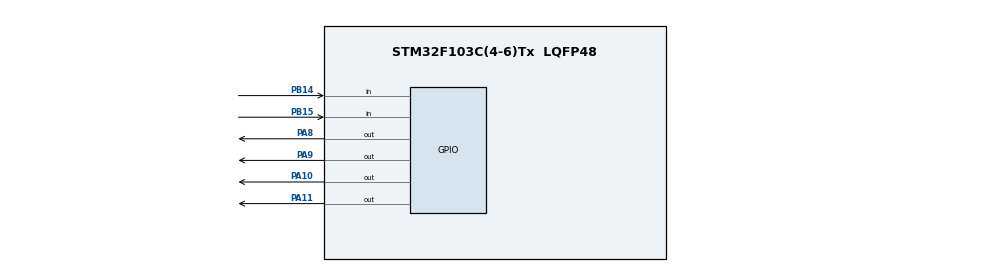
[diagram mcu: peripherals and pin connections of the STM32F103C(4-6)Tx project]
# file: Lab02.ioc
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Mcu.Family=STM32F1
Mcu.Name=STM32F103C(4-6)Tx
Mcu.Package=LQFP48
NVIC.PriorityGroup=NVIC_PRIORITYGROUP_4
PA10.Signal=GPIO_Output
PA11.Signal=GPIO_Output
PA8.Signal=GPIO_Output
PA9.Signal=GPIO_Output
PB14.Signal=GPIO_Input
PB15.Signal=GPIO_Input
ProjectManager.HeapSize=0x200
ProjectManager.StackSize=0x400
ProjectManager.TargetToolchain=STM32CubeIDE
RCC.APB1Freq_Value=8000000
RCC.APB2Freq_Value=8000000
VP_SYS_VS_ND.Mode=No_Debug
board=custom

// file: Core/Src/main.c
/* USER CODE BEGIN Header */
/**
  ******************************************************************************
  * @file           : main.c
  * @brief          : Main program body
  ******************************************************************************
  * @attention
  *
  * Copyright (c) 2022 STMicroelectronics.
  * All rights reserved.
  *
  * This software is licensed under terms that can be found in the LICENSE file
  * in the root directory of this software component.
  * If no LICENSE file comes with this software, it is provided AS-IS.
  *
  ******************************************************************************
  */
/* USER CODE END Header */
#include "main.h"
#include "gpio.h"

void SystemClock_Config(void);

int main(void)
{
  /* USER CODE BEGIN 1 */
	int count = 0;
	int countbb = 0;
	int flag = 0;
	int flab = 0;
  /* USER CODE END 1 */

  /* MCU Configuration--------------------------------------------------------*/

  /* Reset of all peripherals, Initializes the Flash interface and the Systick. */
  HAL_Init();

  /* Configure the system clock */
  SystemClock_Config();

  /* Initialize all configured peripherals */
  MX_GPIO_Init();

  /* Infinite loop */
  /* USER CODE BEGIN WHILE */
  while (1)
  {
	  if (HAL_GPIO_ReadPin(GPIOB, GPIO_PIN_14) != GPIO_PIN_SET && flag == 0)
	  {
		  flag = 1;
		  countbb++;
		  if (countbb==1)
		  {
		  	HAL_GPIO_WritePin(GPIOA, GPIO_PIN_8, GPIO_PIN_RESET);
		  }
		  if (countbb==2)
		  {
		  	HAL_GPIO_WritePin(GPIOA, GPIO_PIN_9, GPIO_PIN_RESET);
		  }
		  if (countbb==3)
		  {
		  	HAL_GPIO_WritePin(GPIOA, GPIO_PIN_10, GPIO_PIN_RESET);
		  }
		  if (countbb==4)
		  {
		  	HAL_GPIO_WritePin(GPIOA, GPIO_PIN_11, GPIO_PIN_RESET);
		  }
		  if (countbb ==5)
		  {
			  HAL_GPIO_WritePin(GPIOA, GPIO_PIN_8, GPIO_PIN_SET);
			  HAL_GPIO_WritePin(GPIOA, GPIO_PIN_9, GPIO_PIN_SET);
			  HAL_GPIO_WritePin(GPIOA, GPIO_PIN_10, GPIO_PIN_SET);
			  HAL_GPIO_WritePin(GPIOA, GPIO_PIN_11, GPIO_PIN_SET);
			  countbb = 0;
		  }
	  }
	  if (HAL_GPIO_ReadPin(GPIOB, GPIO_PIN_14) != GPIO_PIN_RESET && flag == 1)
	  	  {
		  flag = 0;
	  	  }

	  if (HAL_GPIO_ReadPin(GPIOB, GPIO_PIN_15) != GPIO_PIN_SET && flab == 0)
	  {
		  flab = 1;
		  count++;
		 if (count==1)
		  {
			  HAL_GPIO_WritePin(GPIOA, GPIO_PIN_8, GPIO_PIN_RESET);
		  }
		 if (count==2)
		  {
			  HAL_GPIO_WritePin(GPIOA, GPIO_PIN_9, GPIO_PIN_RESET);
			  HAL_GPIO_WritePin(GPIOA, GPIO_PIN_8, GPIO_PIN_SET);
		  }
		  if (count==3)
		  {
			  HAL_GPIO_WritePin(GPIOA, GPIO_PIN_10, GPIO_PIN_RESET);
			  HAL_GPIO_WritePin(GPIOA, GPIO_PIN_9, GPIO_PIN_SET);
		  }
		  if (count==4)
		  {
			  HAL_GPIO_WritePin(GPIOA, GPIO_PIN_11, GPIO_PIN_RESET);
			  HAL_GPIO_WritePin(GPIOA, GPIO_PIN_10, GPIO_PIN_SET);
		  }
		  if (count == 5)
		  {
			  HAL_GPIO_WritePin(GPIOA, GPIO_PIN_8, GPIO_PIN_SET);
			  HAL_GPIO_WritePin(GPIOA, GPIO_PIN_9, GPIO_PIN_SET);
			  HAL_GPIO_WritePin(GPIOA, GPIO_PIN_10, GPIO_PIN_SET);
			  HAL_GPIO_WritePin(GPIOA, GPIO_PIN_11, GPIO_PIN_SET);
			  count =0;
		  }
	  }
	  if (HAL_GPIO_ReadPin(GPIOB, GPIO_PIN_15) != GPIO_PIN_RESET && flab == 1)
	  	  {
		  flab = 0;
	  	  }
	  else if (count == 0 && countbb == 0)
	  {
		  HAL_GPIO_WritePin(GPIOA, GPIO_PIN_8, GPIO_PIN_SET);
		  HAL_GPIO_WritePin(GPIOA, GPIO_PIN_9, GPIO_PIN_SET);
		  HAL_GPIO_WritePin(GPIOA, GPIO_PIN_10, GPIO_PIN_SET);
		  HAL_GPIO_WritePin(GPIOA, GPIO_PIN_11, GPIO_PIN_SET);
	  }

    /* USER CODE END WHILE */

  }
}

void SystemClock_Config(void)
{
  RCC_OscInitTypeDef RCC_OscInitStruct = {0};
  RCC_ClkInitTypeDef RCC_ClkInitStruct = {0};

  /** Initializes the RCC Oscillators according to the specified parameters
  * in the RCC_OscInitTypeDef structure.
  */
  RCC_OscInitStruct.OscillatorType = RCC_OSCILLATORTYPE_HSI;
  RCC_OscInitStruct.HSIState = RCC_HSI_ON;
  RCC_OscInitStruct.HSICalibrationValue = RCC_HSICALIBRATION_DEFAULT;
  RCC_OscInitStruct.PLL.PLLState = RCC_PLL_NONE;
  if (HAL_RCC_OscConfig(&RCC_OscInitStruct) != HAL_OK)
  {
    Error_Handler();
  }
  /** Initializes the CPU, AHB and APB buses clocks
  */
  RCC_ClkInitStruct.ClockType = RCC_CLOCKTYPE_HCLK|RCC_CLOCKTYPE_SYSCLK
                              |RCC_CLOCKTYPE_PCLK1|RCC_CLOCKTYPE_PCLK2;
  RCC_ClkInitStruct.SYSCLKSource = RCC_SYSCLKSOURCE_HSI;
  RCC_ClkInitStruct.AHBCLKDivider = RCC_SYSCLK_DIV1;
  RCC_ClkInitStruct.APB1CLKDivider = RCC_HCLK_DIV1;
  RCC_ClkInitStruct.APB2CLKDivider = RCC_HCLK_DIV1;

  if (HAL_RCC_ClockConfig(&RCC_ClkInitStruct, FLASH_LATENCY_0) != HAL_OK)
  {
    Error_Handler();
  }
}

void Error_Handler(void)
{
  __disable_irq();
  while (1)
  {
  }
}
